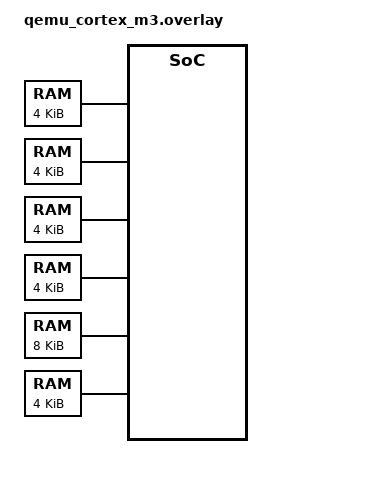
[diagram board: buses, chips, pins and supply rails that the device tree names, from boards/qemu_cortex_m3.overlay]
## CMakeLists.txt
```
# SPDX-License-Identifier: Apache-2.0

cmake_minimum_required(VERSION 3.20.0)

find_package(Zephyr REQUIRED HINTS $ENV{ZEPHYR_BASE})
project(mem_attr_heap)

target_sources(app PRIVATE src/main.c)
```

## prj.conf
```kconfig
# Copyright 2023 Carlo Caione <ccaione@baylibre.com>
# SPDX-License-Identifier: Apache-2.0

CONFIG_ZTEST=y
CONFIG_MEM_ATTR=y
CONFIG_MEM_ATTR_HEAP=y
CONFIG_SHARED_MULTI_HEAP=y
```

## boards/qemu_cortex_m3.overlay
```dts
#include <common/mem.h>
#include <zephyr/dt-bindings/memory-attr/memory-attr.h>
#include <zephyr/dt-bindings/memory-attr/memory-attr-sw.h>

/ {
	mem_cache: memory@20008000 {
		compatible = "zephyr,memory-region", "mmio-sram";
		reg = <0x20008000 0x1000>;
		zephyr,memory-region = "MEM_CACHEABLE";
		zephyr,memory-attr = <( DT_MEM_CACHEABLE )>;
	};

	mem_cache_sw: memory@20009000 {
		compatible = "zephyr,memory-region", "mmio-sram";
		reg = <0x20009000 0x1000>;
		zephyr,memory-region = "MEM_CACHEABLE_SW";
		zephyr,memory-attr = <( DT_MEM_CACHEABLE | DT_MEM_SW_ALLOC_CACHE )>;
	};

	mem_noncache_sw: memory@2000A000 {
		compatible = "zephyr,memory-region", "mmio-sram";
		reg = <0x2000A000 0x1000>;
		zephyr,memory-region = "MEM_NON_CACHEABLE_SW";
		zephyr,memory-attr = <( DT_MEM_SW_ALLOC_NON_CACHE )>;
	};

	mem_dma_sw: memory@2000B000 {
		compatible = "zephyr,memory-region", "mmio-sram";
		reg = <0x2000B000 0x1000>;
		zephyr,memory-region = "MEM_DMA_SW";
		zephyr,memory-attr = <( DT_MEM_DMA | DT_MEM_SW_ALLOC_DMA )>;
	};

	mem_cache_sw_big: memory@2000C000 {
		compatible = "zephyr,memory-region", "mmio-sram";
		reg = <0x2000C000 0x2000>;
		zephyr,memory-region = "MEM_CACHEABLE_SW_BIG";
		zephyr,memory-attr = <( DT_MEM_CACHEABLE | DT_MEM_SW_ALLOC_CACHE )>;
	};

	mem_cache_cache_dma_multi: memory@2000E000 {
		compatible = "zephyr,memory-region", "mmio-sram";
		reg = <0x2000E000 0x1000>;
		zephyr,memory-region = "MEM_CACHEABLE_SW_MULTI_ATTR";
		zephyr,memory-attr = <( DT_MEM_CACHEABLE | DT_MEM_DMA |
					DT_MEM_SW_ALLOC_CACHE | DT_MEM_SW_ALLOC_DMA)>;
	};
};

&sram0 {
	reg = <0x20000000 DT_SIZE_K(32)>;
};
```

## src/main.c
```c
/*
 * Copyright (c) 2023 Carlo Caione <ccaione@baylibre.com>
 *
 * SPDX-License-Identifier: Apache-2.0
 */

#include <zephyr/kernel.h>
#include <zephyr/ztest.h>
#include <zephyr/mem_mgmt/mem_attr_heap.h>
#include <zephyr/dt-bindings/memory-attr/memory-attr-sw.h>

#define ADDR_MEM_CACHE		DT_REG_ADDR(DT_NODELABEL(mem_cache))
#define ADDR_MEM_CACHE_SW	DT_REG_ADDR(DT_NODELABEL(mem_cache_sw))
#define ADDR_MEM_NON_CACHE_SW	DT_REG_ADDR(DT_NODELABEL(mem_noncache_sw))
#define ADDR_MEM_DMA_SW		DT_REG_ADDR(DT_NODELABEL(mem_dma_sw))
#define ADDR_MEM_CACHE_BIG_SW	DT_REG_ADDR(DT_NODELABEL(mem_cache_sw_big))
#define ADDR_MEM_CACHE_DMA_SW	DT_REG_ADDR(DT_NODELABEL(mem_cache_cache_dma_multi))

ZTEST(mem_attr_heap, test_mem_attr_heap)
{
	const struct mem_attr_region_t *region;
	void *block, *old_block;
	int ret;

	/*
	 * Init the pool.
	 */
	ret = mem_attr_heap_pool_init();
	zassert_equal(0, ret, "Failed initialization");

	/*
	 * Any subsequent initialization should fail.
	 */
	ret = mem_attr_heap_pool_init();
	zassert_equal(-EALREADY, ret, "Second init should be failing");

	/*
	 * Allocate 0x100 bytes of cacheable memory.
	 */
	block = mem_attr_heap_alloc(DT_MEM_SW_ALLOC_CACHE, 0x100);
	zassert_not_null(block, "Failed to allocate memory");

	/*
	 * Check that the just allocated memory was allocated from the correct
	 * memory region.
	 */
	region = mem_attr_heap_get_region(block);
	zassert_equal(region->dt_addr, ADDR_MEM_CACHE_SW,
		      "Memory allocated from the wrong region");

	/*
	 * Allocate 0x100 bytes of non-cacheable memory.
	 */
	block = mem_attr_heap_alloc(DT_MEM_SW_ALLOC_NON_CACHE, 0x100);
	zassert_not_null(block, "Failed to allocate memory");

	/*
	 * Check that the just allocated memory was allocated from the correct
	 * memory region.
	 */
	region = mem_attr_heap_get_region(block);
	zassert_equal(region->dt_addr, ADDR_MEM_NON_CACHE_SW,
		      "Memory allocated from the wrong region");

	/*
	 * Allocate 0x100 bytes of DMA memory.
	 */
	block = mem_attr_heap_alloc(DT_MEM_SW_ALLOC_DMA, 0x100);
	zassert_not_null(block, "Failed to allocate memory");

	/*
	 * Check that the just allocated memory was allocated from the correct
	 * memory region.
	 */
	region = mem_attr_heap_get_region(block);
	zassert_equal(region->dt_addr, ADDR_MEM_DMA_SW,
		      "Memory allocated from the wrong region");

	/*
	 * Allocate 0x100 bytes of cacheable and DMA memory.
	 */
	block = mem_attr_heap_alloc(DT_MEM_SW_ALLOC_CACHE | DT_MEM_SW_ALLOC_DMA, 0x100);
	zassert_not_null(block, "Failed to allocate memory");

	/*
	 * Check that the just allocated memory was allocated from the correct
	 * memory region (CACHE + DMA and not just CACHE or just DMA).
	 */
	region = mem_attr_heap_get_region(block);
	zassert_equal(region->dt_addr, ADDR_MEM_CACHE_DMA_SW,
		      "Memory allocated from the wrong region");

	/*
	 * Allocate memory with a non-existing attribute.
	 */
	block = mem_attr_heap_alloc(DT_MEM_SW(DT_MEM_SW_ATTR_UNKNOWN), 0x100);
	zassert_is_null(block, "Memory allocated with non-existing attribute");

	/*
	 * Allocate memory too big to fit into the first cacheable memory
	 * region. It should be allocated from the second bigger memory region.
	 */
	block = mem_attr_heap_alloc(DT_MEM_SW_ALLOC_CACHE, 0x1500);
	zassert_not_null(block, "Failed to allocate memory");

	/*
	 * Check that the just allocated memory was allocated from the correct
	 * (bigger) cacheable memory region
	 */
	region = mem_attr_heap_get_region(block);
	zassert_equal(region->dt_addr, ADDR_MEM_CACHE_BIG_SW,
		      "Memory allocated from the wrong region");

	/*
	 * Try to allocate a buffer too big.
	 */
	block = mem_attr_heap_alloc(DT_MEM_SW_ALLOC_CACHE, 0x4000);
	zassert_is_null(block, "Buffer too big for regions correctly allocated");

	/*
	 * Check if the memory is correctly released and can be reused
	 */
	block = mem_attr_heap_alloc(DT_MEM_SW_ALLOC_CACHE, 0x100);
	old_block = block;
	mem_attr_heap_free(block);
	block = mem_attr_heap_alloc(DT_MEM_SW_ALLOC_CACHE, 0x100);
	zassert_equal_ptr(old_block, block, "Memory not correctly released");

	/*
	 * Check if the memory is correctly aligned when requested
	 */
	block = mem_attr_heap_alloc(DT_MEM_SW_ALLOC_NON_CACHE, 0x100);
	zassert_true(((uintptr_t) block % 32 != 0), "");
	mem_attr_heap_free(block);
	block = mem_attr_heap_aligned_alloc(DT_MEM_SW_ALLOC_NON_CACHE, 0x100, 32);
	zassert_true(((uintptr_t) block % 32 == 0), "");

	/*
	 * Try with a different alignment
	 */
	block = mem_attr_heap_aligned_alloc(DT_MEM_SW_ALLOC_NON_CACHE, 0x100, 64);
	zassert_true(((uintptr_t) block % 64 == 0), "");
}

ZTEST_SUITE(mem_attr_heap, NULL, NULL, NULL, NULL, NULL);
```
